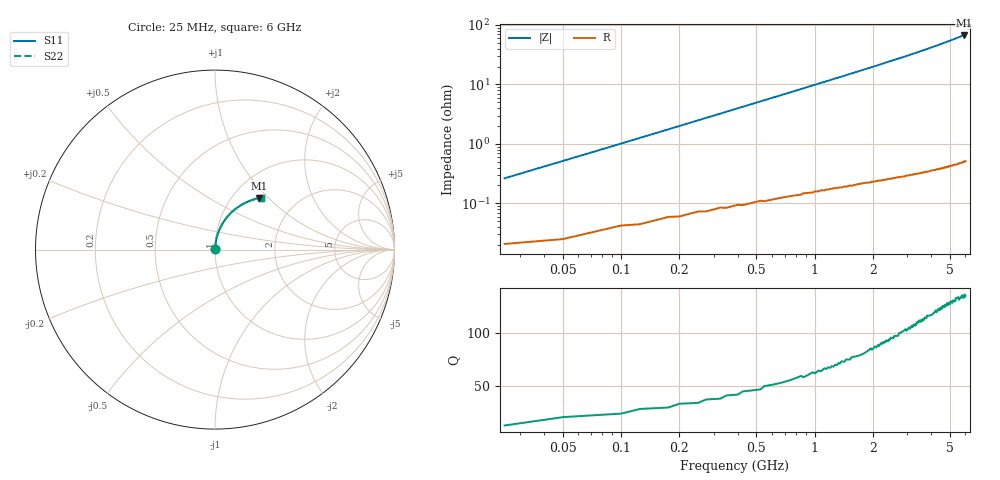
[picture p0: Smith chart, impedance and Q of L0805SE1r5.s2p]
!	AVX Thin Film Operation
!	Date:	Febr.	2009
!	Description: Accu-L® Series Thin Film SMD RF Inductors
!	Part Number: L08051R5BGWTR
!	25MHz-6GHz
!	Serial	Measurements
#	mhz	S	db	R	50
!	S11	S11	S21	S21	S12	S12	S22	S22
!	dB	Phase	dB	Phase	dB	Phase	dB	Phase
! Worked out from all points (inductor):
!   240 points, 25 MHz to 6 GHz, reference 50 ohm
!   read as 1/Y11, port 2 shorted: L = 1.62 nH near 50 MHz
!   highest Q = 135 at 5.9 GHz (marker M1), where L = 1.82 nH
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25  -54.09 84.4  -0.00 -0.2  -0.00 -0.2  -54.09 84.4
50  -48.35 85.5  -0.00 -0.4  -0.00 -0.4  -48.35 85.5
75  -44.96 85.9  -0.00 -0.6  -0.00 -0.6  -44.96 85.9
100  -42.55 86.1  -0.00 -0.7  -0.00 -0.7  -42.55 86.1
125  -40.67 86.2  -0.00 -0.9  -0.00 -0.9  -40.67 86.2
175  -37.83 86.2  -0.01 -1.3  -0.01 -1.3  -37.83 86.2
225  -35.70 86.1  -0.01 -1.6  -0.01 -1.6  -35.70 86.1
275  -33.99 85.9  -0.01 -2.0  -0.01 -2.0  -33.99 85.9
325  -32.57 85.7  -0.01 -2.3  -0.01 -2.3  -32.57 85.7
400  -30.80 85.3  -0.01 -2.9  -0.01 -2.9  -30.80 85.3
575  -27.71 84.3  -0.02 -4.1  -0.02 -4.1  -27.71 84.3
775  -25.16 83.1  -0.03 -5.5  -0.03 -5.5  -25.16 83.1
1025  -22.78 81.5  -0.04 -7.3  -0.04 -7.3  -22.78 81.5
1225  -21.26 80.2  -0.05 -8.7  -0.05 -8.7  -21.26 80.2
1475  -19.68 78.5  -0.06 -10.5  -0.06 -10.5  -19.68 78.5
2025  -17.00 74.8  -0.11 -14.3  -0.11 -14.3  -17.00 74.8
2500  -15.24 71.6  -0.15 -17.6  -0.15 -17.6  -15.24 71.6
3025  -13.66 68.1  -0.22 -21.3  -0.22 -21.3  -13.66 68.1
4025  -11.35 61.5  -0.36 -28.1  -0.36 -28.1  -11.35 61.5
5025  -9.63 54.9  -0.54 -34.7  -0.54 -34.7  -9.63 54.9
5900  -8.43 49.3  -0.71 -40.4  -0.71 -40.4  -8.43 49.3
6000  -8.31 48.7  -0.73 -41.1  -0.73 -41.1  -8.31 48.7
